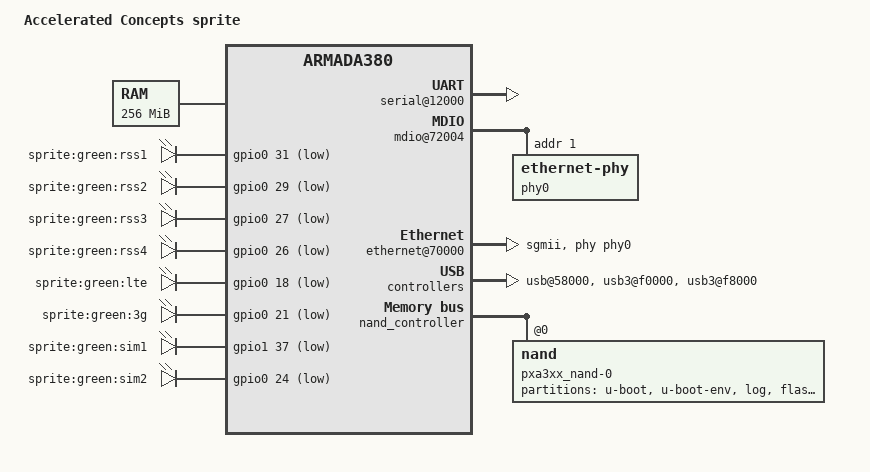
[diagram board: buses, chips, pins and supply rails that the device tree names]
/*
 * armada-380-sprite.dts -- device tree for Accelerated Concepts sprite
 *
 *  Copyright (C) 2014 Marvell
 *  Copyright (C) 2016 Accelerated Concepts
 *
 * This file is dual-licensed: you can use it either under the terms
 * of the GPL or the X11 license, at your option. Note that this dual
 * licensing only applies to this file, and not this project as a
 * whole.
 *
 *  a) This file is free software; you can redistribute it and/or
 *     modify it under the terms of the GNU General Public License as
 *     published by the Free Software Foundation; either version 2 of the
 *     License, or (at your option) any later version.
 *
 *     This file is distributed in the hope that it will be useful
 *     but WITHOUT ANY WARRANTY; without even the implied warranty of
 *     MERCHANTABILITY or FITNESS FOR A PARTICULAR PURPOSE.  See the
 *     GNU General Public License for more details.
 *
 * Or, alternatively
 *
 *  b) Permission is hereby granted, free of charge, to any person
 *     obtaining a copy of this software and associated documentation
 *     files (the "Software"), to deal in the Software without
 *     restriction, including without limitation the rights to use
 *     copy, modify, merge, publish, distribute, sublicense, and/or
 *     sell copies of the Software, and to permit persons to whom the
 *     Software is furnished to do so, subject to the following
 *     conditions:
 *
 *     The above copyright notice and this permission notice shall be
 *     included in all copies or substantial portions of the Software.
 *
 *     THE SOFTWARE IS PROVIDED , WITHOUT WARRANTY OF ANY KIND
 *     EXPRESS OR IMPLIED, INCLUDING BUT NOT LIMITED TO THE WARRANTIES
 *     OF MERCHANTABILITY, FITNESS FOR A PARTICULAR PURPOSE AND
 *     NONINFRINGEMENT. IN NO EVENT SHALL THE AUTHORS OR COPYRIGHT
 *     HOLDERS BE LIABLE FOR ANY CLAIM, DAMAGES OR OTHER LIABILITY
 *     WHETHER IN AN ACTION OF CONTRACT, TORT OR OTHERWISE, ARISING
 *     FROM, OUT OF OR IN CONNECTION WITH THE SOFTWARE OR THE USE OR
 *     OTHER DEALINGS IN THE SOFTWARE.
 */

/dts-v1/;
#include "armada-388.dtsi"

/ {
	model = "Accelerated Concepts sprite";
	compatible = "accelerated,sprite", "marvell,armada388",
		"marvell,armada385", "marvell,armada380";

	chosen {
		stdout-path = "serial0:115200n8";
	};

	memory {
		device_type = "memory";
		reg = <0x00000000 0x10000000>; /* 256 MB */
	};

	soc {
		ranges = <MBUS_ID(0xf0, 0x01) 0 0xf1000000 0x100000
			  MBUS_ID(0x01, 0x1d) 0 0xfff00000 0x100000
			  MBUS_ID(0x09, 0x19) 0 0xf1100000 0x10000
			  MBUS_ID(0x09, 0x15) 0 0xf1110000 0x10000>;

		internal-regs {
			serial@12000 {
				status = "okay";
			};

			mdio@72004 {
				phy0: ethernet-phy@0 {
					reg = <1>;
				};
			};

			ethernet@70000 {
				status = "okay";
				phy = <&phy0>;
				phy-mode = "sgmii";
			};

			usb@58000 {
				status = "ok";
			};

			usb3@f0000 {
				status = "okay";
			};

			usb3@f8000 {
				status = "okay";
			};

			gpio_leds {
				compatible = "gpio-leds";
				pinctrl-names = "default";
				pinctrl-0 = <&rss1_led_pin>;

				green_rss1_led {
					label = "sprite:green:rss1";
					gpios = <&gpio0 31 1>;
					linux,default-trigger = "rss1";
				};

				green_rss2_led {
					label = "sprite:green:rss2";
					gpios = <&gpio0 29 1>;
					linux,default-trigger = "rss2";
				};

				green_rss3_led {
					label = "sprite:green:rss3";
					gpios = <&gpio0 27 1>;
					linux,default-trigger = "rss3";
				};

				green_rss4_led {
					label = "sprite:green:rss4";
					gpios = <&gpio0 26 1>;
					linux,default-trigger = "rss4";
				};

				green_lte_led {
					label = "sprite:green:lte";
					gpios = <&gpio0 18 1>;
					linux,default-trigger = "lte";
				};

				green_3g_led {
					label = "sprite:green:3g";
					gpios = <&gpio0 21 1>;
					linux,default-trigger = "3g";
				};

				green_sim1_led {
					label = "sprite:green:sim1";
					gpios = <&gpio1 37 1>;
					linux,default-trigger = "sim1";
				};

				green_sim2_led {
					label = "sprite:green:sim2";
					gpios = <&gpio0 24 1>;
					linux,default-trigger = "sim2";
				};
			};
		};
	};
};

&nand_controller {
	status = "okay";

	nand@0 {
		reg = <0>;
		label = "pxa3xx_nand-0";
		nand-rb = <0>;
		marvell,nand-keep-config;
		nand-on-flash-bbt;
		nand-ecc-strength = <4>;
		nand-ecc-step-size = <512>;

		partitions {
			compatible = "fixed-partitions";
			#address-cells = <1>;
			#size-cells = <1>;

			partition@0 {
				label = "u-boot";
				reg = <0x00000000 0x00200000>;
			};
			partition@1 {
				label = "u-boot-env";
				reg = <0x00200000 0x00100000>;
			};
			partition@2 {
				label = "log";
				reg = <0x00300000 0x00200000>;
			};
			partition@3 {
				label = "flash";
				reg = <0x00500000 0>;
			};
			partition@4 {
				label = "all";
				reg = <0x00000000 0>;
			};
		};
	};
};

&pinctrl {
	rss1_led_pin: rss1-led-pin {
		marvell,pins = "mpp31";
		marvell,function = "gpio";
	};

	rss2_led_pin: rss2-led-pin {
		marvell,pins = "mpp29";
		marvell,function = "gpio";
	};

	rss3_led_pin: rss3-led-pin {
		marvell,pins = "mpp27";
		marvell,function = "gpio";
	};

	rss4_led_pin: rss4-led-pin {
		marvell,pins = "mppp26";
		marvell,function = "gpio";
	};

	lte_led_pin: lte-led-pin {
		marvell,pins = "mppp18";
		marvell,function = "gpio";
	};

	threeg_led_pin: threeg-led-pin {
		marvell,pins = "mpp21";
		marvell,function = "gpio";
	};

	sim1_led_pin: sim1-led-pin {
		marvell,pins = "mpp37";
		marvell,function = "gpio";
	};

	sim2_led_pin: sim2-led-pin {
		marvell,pins = "mpp24";
		marvell,function = "gpio";
	};
};
